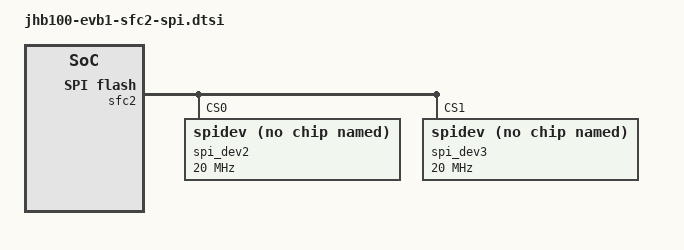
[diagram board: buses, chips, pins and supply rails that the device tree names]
// SPDX-License-Identifier: GPL-2.0 OR MIT
/*
 * Copyright (c) 2025 StarFive Technology Co., Ltd.
 */

&sfc2 {
	compatible = "starfive,jhb100-sfc-spi";
	pinctrl-names = "default";
	pinctrl-0 = <&sfc2_2cs_spi_pins>;
	/delete-property/ dmas;
	/delete-property/ dma-names;
	status = "okay";

	spi_dev2: spi@0 {
		compatible = "rohm,dh2228fv";
		spi-max-frequency = <20000000>;
		reg = <0>;
	};

	spi_dev3: spi@1 {
		compatible = "rohm,dh2228fv";
		spi-max-frequency = <20000000>;
		reg = <1>;
	};
};
